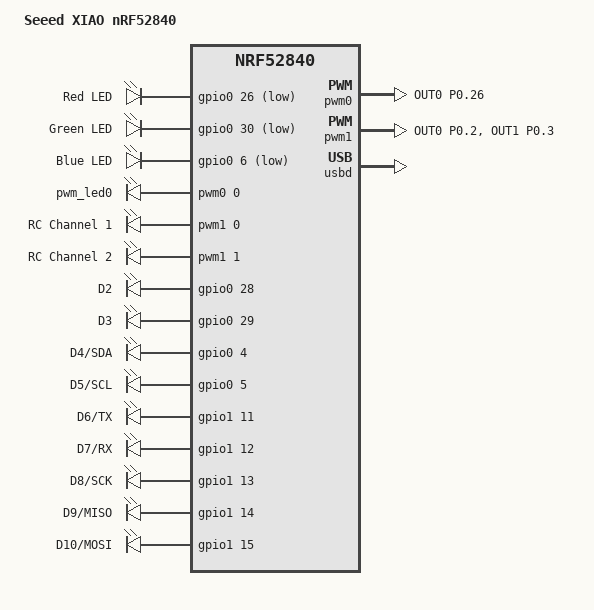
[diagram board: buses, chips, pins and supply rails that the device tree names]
/dts-v1/;
#include <nordic/nrf52840_qiaa.dtsi>
#include <zephyr/dt-bindings/input/input-event-codes.h>

/ {
	model = "Seeed XIAO nRF52840";
	compatible = "seeed,xiao-nrf52840";

	chosen {
		zephyr,sram = &sram0;
		zephyr,flash = &flash0;
		zephyr,code-partition = &slot0_partition;
		zephyr,console = &cdc_acm_uart;
	};

	leds {
		compatible = "gpio-leds";
		led0: led_0 {
			gpios = <&gpio0 26 GPIO_ACTIVE_LOW>;
			label = "Red LED";
		};
		led1: led_1 {
			gpios = <&gpio0 30 GPIO_ACTIVE_LOW>;
			label = "Green LED";
		};
		led2: led_2 {
			gpios = <&gpio0 6 GPIO_ACTIVE_LOW>;
			label = "Blue LED";
		};
	};

	aliases {
		led0 = &led0;
		led1 = &led1;
		led2 = &led2;
		led3 = &led0;  /* DK library expects 4 LEDs */
		pwm-led0 = &pwm_led0;
	};

	/* PWM LEDs for testing PWM functionality */
	pwmleds {
		compatible = "pwm-leds";
		pwm_led0: pwm_led_0 {
			pwms = <&pwm0 0 PWM_MSEC(20) PWM_POLARITY_INVERTED>;
		};
	};

	/* RC Servo/ESC PWM outputs - directly on GPIO pins */
	rc_outputs {
		compatible = "pwm-leds";
		/* RC Channel 1 - D0/A0 (P0.02) */
		rc_ch1: rc_channel_1 {
			pwms = <&pwm1 0 PWM_MSEC(20) PWM_POLARITY_NORMAL>;
			label = "RC Channel 1";
		};
		/* RC Channel 2 - D1/A1 (P0.03) */
		rc_ch2: rc_channel_2 {
			pwms = <&pwm1 1 PWM_MSEC(20) PWM_POLARITY_NORMAL>;
			label = "RC Channel 2";
		};
	};

	/* GPIO header - directly accessible pins */
	gpio_header: gpio_header {
		compatible = "gpio-leds";  /* Just for easy control */
		/* D2/A2 (P0.28) */
		gpio_d2: gpio_d2 {
			gpios = <&gpio0 28 GPIO_ACTIVE_HIGH>;
			label = "D2";
		};
		/* D3/A3 (P0.29) */
		gpio_d3: gpio_d3 {
			gpios = <&gpio0 29 GPIO_ACTIVE_HIGH>;
			label = "D3";
		};
		/* D4/SDA (P0.04) */
		gpio_d4: gpio_d4 {
			gpios = <&gpio0 4 GPIO_ACTIVE_HIGH>;
			label = "D4/SDA";
		};
		/* D5/SCL (P0.05) */
		gpio_d5: gpio_d5 {
			gpios = <&gpio0 5 GPIO_ACTIVE_HIGH>;
			label = "D5/SCL";
		};
		/* D6/TX (P1.11) */
		gpio_d6: gpio_d6 {
			gpios = <&gpio1 11 GPIO_ACTIVE_HIGH>;
			label = "D6/TX";
		};
		/* D7/RX (P1.12) */
		gpio_d7: gpio_d7 {
			gpios = <&gpio1 12 GPIO_ACTIVE_HIGH>;
			label = "D7/RX";
		};
		/* D8/SCK (P1.13) */
		gpio_d8: gpio_d8 {
			gpios = <&gpio1 13 GPIO_ACTIVE_HIGH>;
			label = "D8/SCK";
		};
		/* D9/MISO (P1.14) */
		gpio_d9: gpio_d9 {
			gpios = <&gpio1 14 GPIO_ACTIVE_HIGH>;
			label = "D9/MISO";
		};
		/* D10/MOSI (P1.15) */
		gpio_d10: gpio_d10 {
			gpios = <&gpio1 15 GPIO_ACTIVE_HIGH>;
			label = "D10/MOSI";
		};
	};
};

&flash0 {
	partitions {
		compatible = "fixed-partitions";
		#address-cells = <1>;
		#size-cells = <1>;

		/* UF2 bootloader (Adafruit) at 0x0-0x27000 */
		boot_partition: partition@0 {
			label = "bootloader";
			reg = <0x00000000 0x00027000>;
			read-only;
		};
		/* Application starts after bootloader */
		slot0_partition: partition@27000 {
			label = "image-0";
			reg = <0x00027000 0x000b3000>;
		};
		/* Config partition for HID-HOP settings */
		config_partition: partition@da000 {
			label = "config";
			reg = <0x000da000 0x00001000>;
		};
		/* NVS storage for BLE bonding etc */
		storage_partition: partition@db000 {
			label = "storage";
			reg = <0x000db000 0x00025000>;
		};
	};
};

&gpio0 {
	status = "okay";
};

&gpio1 {
	status = "okay";
};

&gpiote {
	status = "okay";
};

/* PWM0 - for LED control */
&pwm0 {
	status = "okay";
	pinctrl-0 = <&pwm0_default>;
	pinctrl-1 = <&pwm0_sleep>;
	pinctrl-names = "default", "sleep";
};

/* PWM1 - for RC servo/ESC outputs on D0 and D1 */
&pwm1 {
	status = "okay";
	pinctrl-0 = <&pwm1_default>;
	pinctrl-1 = <&pwm1_sleep>;
	pinctrl-names = "default", "sleep";
};

&pinctrl {
	pwm0_default: pwm0_default {
		group1 {
			psels = <NRF_PSEL(PWM_OUT0, 0, 26)>;  /* Red LED */
		};
	};
	pwm0_sleep: pwm0_sleep {
		group1 {
			psels = <NRF_PSEL(PWM_OUT0, 0, 26)>;
			low-power-enable;
		};
	};
	pwm1_default: pwm1_default {
		group1 {
			psels = <NRF_PSEL(PWM_OUT0, 0, 2)>,   /* D0/A0 - RC CH1 */
			        <NRF_PSEL(PWM_OUT1, 0, 3)>;   /* D1/A1 - RC CH2 */
		};
	};
	pwm1_sleep: pwm1_sleep {
		group1 {
			psels = <NRF_PSEL(PWM_OUT0, 0, 2)>,
			        <NRF_PSEL(PWM_OUT1, 0, 3)>;
			low-power-enable;
		};
	};
};

zephyr_udc0: &usbd {
	compatible = "nordic,nrf-usbd";
	status = "okay";
	cdc_acm_uart: cdc_acm_uart {
		compatible = "zephyr,cdc-acm-uart";
	};
};
